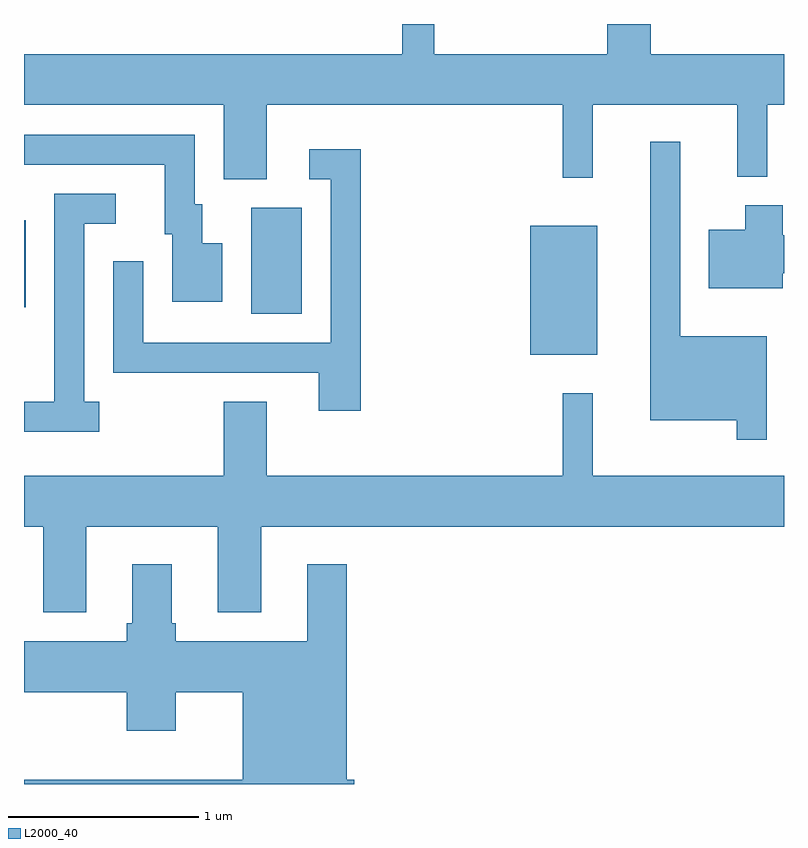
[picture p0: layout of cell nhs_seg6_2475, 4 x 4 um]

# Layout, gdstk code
import gdstk
lib = gdstk.Library(unit=1e-6, precision=1e-09)
def R(c, l, rs):  # rectangles x0, y0, x1, y1
    for r in rs: c.add(gdstk.rectangle(r[:2], r[2:], *l))
def P(c, l, *ps):  # polygons
    for p in ps: c.add(gdstk.Polygon(p, *l))
L2000_40 = (2000, 40)

nhs_seg6_2475 = lib.new_cell('nhs_seg6_2475')
R(nhs_seg6_2475, L2000_40, [(262.276,1626.421,262.629,1627.099), (260.806,1626.636,261.074,1627.194), (259.611,1626.671,259.619,1627.129)])
P(nhs_seg6_2475, L2000_40, [(260.889,1627.736),(262.446,1627.736),(262.446,1627.353),(262.604,1627.353),(262.604,1627.736),(263.366,1627.736),(263.366,1627.358),(263.524,1627.358),(263.524,1627.736),(263.611,1627.736),(263.611,1628.004),(262.909,1628.004),(262.909,1628.162),(262.681,1628.162),(262.681,1628.004),(261.769,1628.004),(261.769,1628.162),(261.601,1628.162),(261.601,1628.004),(259.611,1628.004),(259.611,1627.736),(260.661,1627.736),(260.661,1627.346),(260.889,1627.346)],
  [(260.654,1627.009),(260.549,1627.009),(260.549,1627.214),(260.509,1627.214),(260.509,1627.579),(259.611,1627.579),(259.611,1627.421),(260.351,1627.421),(260.351,1627.056),(260.391,1627.056),(260.391,1626.701),(260.654,1626.701)],
  [(263.519,1626.519),(263.064,1626.519),(263.064,1627.543),(262.906,1627.543),(262.906,1626.076),(263.361,1626.076),(263.361,1625.973),(263.519,1625.973)],
  [(261.384,1627.504),(261.113,1627.504),(261.113,1627.346),(261.226,1627.346),(261.226,1626.484),(260.239,1626.484),(260.239,1626.913),(260.081,1626.913),(260.081,1626.326),(261.161,1626.326),(261.161,1626.126),(261.384,1626.126)],
  [(260.008,1626.174),(259.929,1626.174),(259.929,1627.111),(260.093,1627.111),(260.093,1627.269),(259.771,1627.269),(259.771,1626.174),(259.611,1626.174),(259.611,1626.016),(260.008,1626.016)],
  [(263.604,1626.851),(263.611,1626.851),(263.611,1627.049),(263.604,1627.049),(263.604,1627.209),(263.406,1627.209),(263.406,1627.079),(263.216,1627.079),(263.216,1626.771),(263.604,1626.771)],
  [(259.939,1625.516),(260.631,1625.516),(260.631,1625.066),(260.859,1625.066),(260.859,1625.516),(263.611,1625.516),(263.611,1625.784),(262.604,1625.784),(262.604,1626.218),(262.446,1626.218),(262.446,1625.784),(260.889,1625.784),(260.889,1626.174),(260.661,1626.174),(260.661,1625.784),(259.611,1625.784),(259.611,1625.516),(259.711,1625.516),(259.711,1625.066),(259.939,1625.066)],
  [(261.349,1624.184),(261.309,1624.184),(261.309,1625.319),(261.101,1625.319),(261.101,1624.914),(260.409,1624.914),(260.409,1625.009),(260.389,1625.009),(260.389,1625.319),(260.181,1625.319),(260.181,1625.009),(260.151,1625.009),(260.151,1624.914),(259.611,1624.914),(259.611,1624.646),(260.151,1624.646),(260.151,1624.441),(260.409,1624.441),(260.409,1624.646),(260.761,1624.646),(260.761,1624.184),(259.611,1624.184),(259.611,1624.162),(261.349,1624.162)])

lib.write_gds('nhs_seg6_2475.gds')
